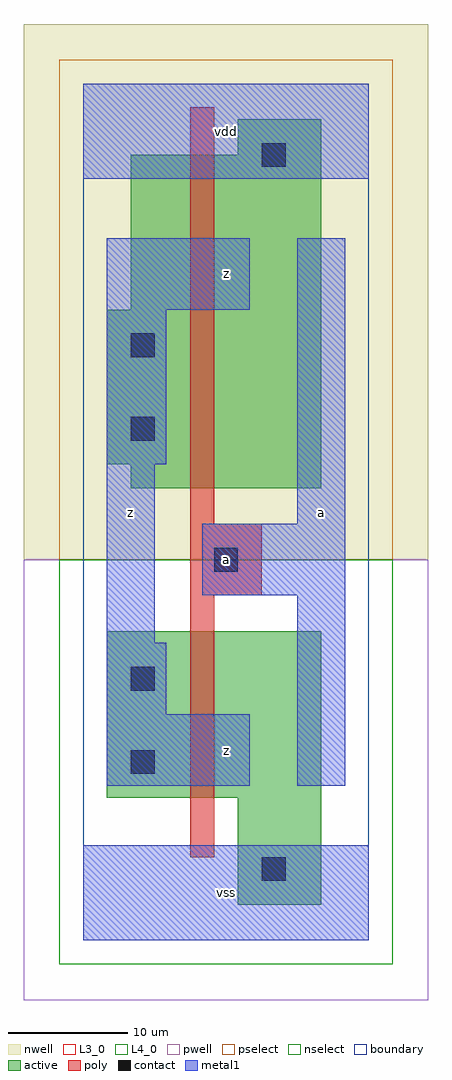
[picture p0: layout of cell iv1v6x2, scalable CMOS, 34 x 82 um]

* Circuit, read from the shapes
.subckt iv1v6x2 a vdd vss z
M1 vss a z VSUBS nfet w=14u l=2u
M2 vdd a z n1 pfet w=28u l=2u
.ends

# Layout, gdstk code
import gdstk
lib = gdstk.Library(unit=1e-6, precision=1e-09)
def R(c, l, rs):  # rectangles x0, y0, x1, y1
    for r in rs: c.add(gdstk.rectangle(r[:2], r[2:], *l))
L3_0 = (3, 0)
L4_0 = (4, 0)
contact = (25, 0)
pwell = (41, 0)
nwell = (42, 0)
active = (43, 0)
pselect = (44, 0)
nselect = (45, 0)
poly = (46, 0)
metal1 = (49, 0)
boundary = (63, 0)

iv1v6x2 = lib.new_cell('iv1v6x2')
R(iv1v6x2, L3_0, [(13,3,20,12), (2,12,20,26)])
R(iv1v6x2, L4_0, [(4,38,20,40), (2,40,20,53), (4,53,20,66), (13,66,20,69)])
R(iv1v6x2, contact, [(15,5,17,7), (4,14,6,16), (4,21,6,23), (11,31,13,33), (4,42,6,44), (4,49,6,51), (15,65,17,67)])
R(iv1v6x2, pwell, [(-5,-5,29,32)])
R(iv1v6x2, nwell, [(-5,32,29,77)])
R(iv1v6x2, active, [(13,3,20,12), (2,12,20,26), (4,38,20,40), (2,40,20,53), (4,53,20,66), (13,66,20,69)])
R(iv1v6x2, pselect, [(-2,32,26,74)])
R(iv1v6x2, nselect, [(-2,-2,26,32)])
R(iv1v6x2, poly, [(9,7,11,29), (9,29,15,35), (9,35,11,70)])
R(iv1v6x2, metal1, [(0,0,24,8), (2,13,14,19), (18,13,22,29), (2,19,7,25), (2,25,6,40), (10,29,22,35), (18,35,22,59), (2,40,7,53), (2,53,14,59), (0,64,24,72)])
R(iv1v6x2, boundary, [(0,0,24,72)])
iv1v6x2.add(gdstk.Label('z', (4,36), layer=49, texttype=0))
iv1v6x2.add(gdstk.Label('vss', (12,4), layer=49, texttype=0))
iv1v6x2.add(gdstk.Label('z', (12,16), layer=49, texttype=0))
iv1v6x2.add(gdstk.Label('a', (12,32), layer=49, texttype=0))
iv1v6x2.add(gdstk.Label('z', (12,56), layer=49, texttype=0))
iv1v6x2.add(gdstk.Label('vdd', (12,68), layer=49, texttype=0))
iv1v6x2.add(gdstk.Label('a', (20,36), layer=49, texttype=0))

lib.write_gds('iv1v6x2.gds')
